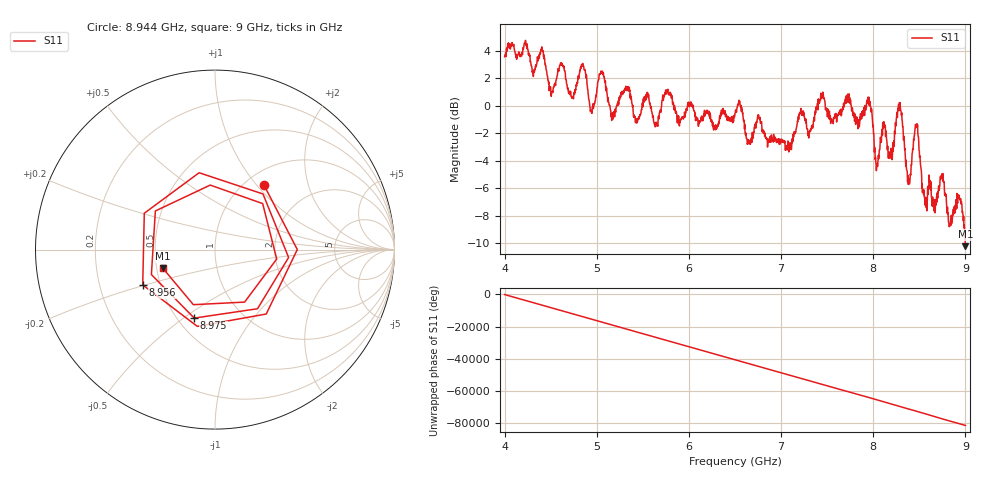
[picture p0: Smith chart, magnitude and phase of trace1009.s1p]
! Created with skrf 1.8.0 (http://scikit-rf.org).
# Hz S RI R 50.0
!freq ReS11 ImS11
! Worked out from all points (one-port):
!   1601 points, 4 GHz to 9 GHz, reference 50 ohm
!   lowest |S11| = -10.2 dB at 9 GHz (marker M1), VSWR 1.89, Z = 27 - j6.19 ohm
!   |S11| at or under -10 dB: 8.998879 GHz to end of sweep
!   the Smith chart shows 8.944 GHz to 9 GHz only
!   S11 on the Smith chart (normalised r, x): 8.944 GHz: 1.20, +1.09; 8.956 GHz: 0.40, -0.20; 8.975 GHz: 0.60, -0.55; 9 GHz: 0.54, -0.12
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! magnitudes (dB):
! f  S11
! 4 GHz  3.6
! 4.406 GHz  4.1
! 4.509 GHz  0.9
! 4.625 GHz  3.0
! 4.725 GHz  0.6
! 4.856 GHz  2.9
! 4.944 GHz  -0.4
! 5.05 GHz  2.5
! 5.169 GHz  -0.7
! 5.25 GHz  0.5
! 5.772 GHz  1.2
! 5.875 GHz  -1.3
! 6.5 GHz  -0.6
! 7.125 GHz  -2.4
! 7.434 GHz  0.8
! 7.75 GHz  0.1
! 7.956 GHz  0.0
! 8.038 GHz  -4.4
! 8.116 GHz  -1.2
! 8.197 GHz  -3.8
! 8.291 GHz  0.2
! 8.375 GHz  -5.4
! 8.469 GHz  -1.4
! 8.559 GHz  -6.9
! 8.944 GHz  -6.9
! 8.956 GHz  -7.0
! 8.975 GHz  -8.0
! 9 GHz  -10.2
